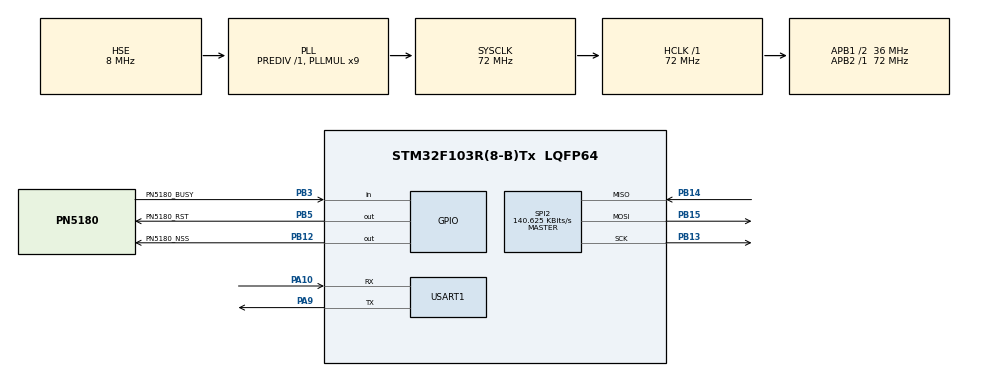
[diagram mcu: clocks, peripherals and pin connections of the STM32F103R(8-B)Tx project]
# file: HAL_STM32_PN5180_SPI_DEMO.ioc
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Mcu.Family=STM32F1
Mcu.Name=STM32F103R(8-B)Tx
Mcu.Package=LQFP64
NVIC.PriorityGroup=NVIC_PRIORITYGROUP_4
PA10.Mode=Asynchronous
PA10.Signal=USART1_RX
PA13.Mode=Serial_Wire
PA13.Signal=SYS_JTMS-SWDIO
PA14.Mode=Serial_Wire
PA14.Signal=SYS_JTCK-SWCLK
PA9.Mode=Asynchronous
PA9.Signal=USART1_TX
PB12.GPIO_Label=PN5180_NSS
PB12.GPIO_PuPd=GPIO_PULLUP
PB12.GPIO_Speed=GPIO_SPEED_FREQ_HIGH
PB12.PinState=GPIO_PIN_SET
PB12.Signal=GPIO_Output
PB13.Mode=Full_Duplex_Master
PB13.Signal=SPI2_SCK
PB14.GPIO_PuPd=GPIO_PULLUP
PB14.Mode=Full_Duplex_Master
PB14.Signal=SPI2_MISO
PB15.Mode=Full_Duplex_Master
PB15.Signal=SPI2_MOSI
PB3.GPIO_Label=PN5180_BUSY
PB3.GPIO_PuPd=GPIO_PULLUP
PB3.Signal=GPIO_Input
PB5.GPIO_Label=PN5180_RST
PB5.GPIO_PuPd=GPIO_PULLUP
PB5.GPIO_Speed=GPIO_SPEED_FREQ_HIGH
PB5.PinState=GPIO_PIN_SET
PB5.Signal=GPIO_Output
PD0-OSC_IN.Mode=HSE-External-Oscillator
PD0-OSC_IN.Signal=RCC_OSC_IN
PD1-OSC_OUT.Mode=HSE-External-Oscillator
PD1-OSC_OUT.Signal=RCC_OSC_OUT
ProjectManager.HeapSize=0x200
ProjectManager.StackSize=0x400
ProjectManager.TargetToolchain=MDK-ARM V5
RCC.AHBFreq_Value=72000000
RCC.APB1CLKDivider=RCC_HCLK_DIV2
RCC.APB1Freq_Value=36000000
RCC.APB1TimFreq_Value=72000000
RCC.APB2Freq_Value=72000000
RCC.APB2TimFreq_Value=72000000
RCC.HCLKFreq_Value=72000000
RCC.PLLMUL=RCC_PLL_MUL9
RCC.PLLSourceVirtual=RCC_PLLSOURCE_HSE
RCC.SYSCLKFreq_VALUE=72000000
RCC.SYSCLKSource=RCC_SYSCLKSOURCE_PLLCLK
RCC.USBFreq_Value=72000000
SPI2.BaudRatePrescaler=SPI_BAUDRATEPRESCALER_256
SPI2.CalculateBaudRate=140.625 KBits/s
SPI2.Direction=SPI_DIRECTION_2LINES
SPI2.Mode=SPI_MODE_MASTER
SPI2.VirtualType=VM_MASTER
USART1.VirtualMode=VM_ASYNC
board=custom

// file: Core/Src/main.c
/* USER CODE BEGIN Header */
/**
  ******************************************************************************
  * @file           : main.c
  * @brief          : Main program body
  ******************************************************************************
  * @attention
  *
  * <h2><center>&copy; Copyright (c) 2020 STMicroelectronics.
  * All rights reserved.</center></h2>
  *
  * This software component is licensed by ST under BSD 3-Clause license,
  * the "License"; You may not use this file except in compliance with the
  * License. You may obtain a copy of the License at:
  *                        opensource.org/licenses/BSD-3-Clause
  *
  ******************************************************************************
  */
/* USER CODE END Header */
#include "main.h"
#include "spi.h"
#include "usart.h"
#include "gpio.h"

/* USER CODE BEGIN Includes */
#include "dbg.h"
#include "pn5180.h"
#include "iso15693.h"
#include "iso14443.h"
/* USER CODE END Includes */

void SystemClock_Config(void);

/* USER CODE BEGIN 0 */
int main(void)
{
    HAL_Init();
    SystemClock_Config();
    MX_GPIO_Init();
    MX_SPI2_Init();
    MX_USART1_UART_Init();
#if (USE_SPI_HAL_LIB == 0)
    //
    // STM32Cube生成的HAL库SPI初始化代码默认没有使能SPI，
    // 如果使用自己编写的寄存器版SPI数据传输就需要先使能SPI。
    //
    __HAL_SPI_ENABLE(&hspi2);
#endif
    dbg_init();
    while(PN5180_Init() != 0)
    {
        ;
    }

	dbg_printf(" ***** pn5180demo **** \r\n");

//	ISO15693_SingleInventoryDemo();

//	ISO15693_MultiInventoryDemo();

    ISO14443_Init();

    while (1)
    {

    }
}

/* USER CODE END 0 */

void SystemClock_Config(void)
{
    RCC_OscInitTypeDef RCC_OscInitStruct = {0};
    RCC_ClkInitTypeDef RCC_ClkInitStruct = {0};

    /** Initializes the RCC Oscillators according to the specified parameters
    * in the RCC_OscInitTypeDef structure.
    */
    RCC_OscInitStruct.OscillatorType = RCC_OSCILLATORTYPE_HSE;
    RCC_OscInitStruct.HSEState = RCC_HSE_ON;
    RCC_OscInitStruct.HSEPredivValue = RCC_HSE_PREDIV_DIV1;
    RCC_OscInitStruct.HSIState = RCC_HSI_ON;
    RCC_OscInitStruct.PLL.PLLState = RCC_PLL_ON;
    RCC_OscInitStruct.PLL.PLLSource = RCC_PLLSOURCE_HSE;
    RCC_OscInitStruct.PLL.PLLMUL = RCC_PLL_MUL9;
    if (HAL_RCC_OscConfig(&RCC_OscInitStruct) != HAL_OK)
    {
        Error_Handler();
    }
    /** Initializes the CPU, AHB and APB buses clocks
    */
    RCC_ClkInitStruct.ClockType = RCC_CLOCKTYPE_HCLK|RCC_CLOCKTYPE_SYSCLK
                                  |RCC_CLOCKTYPE_PCLK1|RCC_CLOCKTYPE_PCLK2;
    RCC_ClkInitStruct.SYSCLKSource = RCC_SYSCLKSOURCE_PLLCLK;
    RCC_ClkInitStruct.AHBCLKDivider = RCC_SYSCLK_DIV1;
    RCC_ClkInitStruct.APB1CLKDivider = RCC_HCLK_DIV2;
    RCC_ClkInitStruct.APB2CLKDivider = RCC_HCLK_DIV1;

    if (HAL_RCC_ClockConfig(&RCC_ClkInitStruct, FLASH_LATENCY_2) != HAL_OK)
    {
        Error_Handler();
    }
}

void Error_Handler(void)
{
}

/************************ (C) COPYRIGHT STMicroelectronics *****END OF FILE****/
